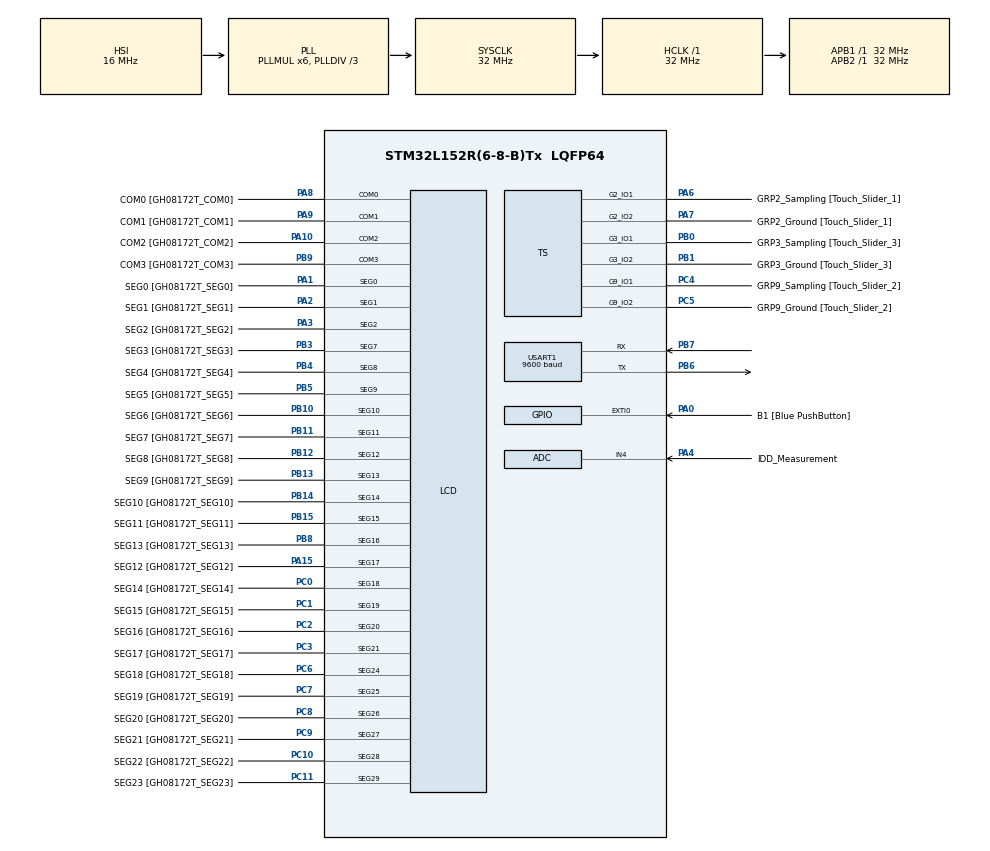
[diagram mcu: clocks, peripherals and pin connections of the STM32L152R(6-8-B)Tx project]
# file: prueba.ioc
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ADC.Channel=ADC_CHANNEL_4
ADC.Channel-0\#ChannelRegularConversion=ADC_CHANNEL_4
ADC.Channel-IN4=ADC_CHANNEL_4
ADC.ExternalTrigConv=ADC_EXTERNALTRIGCONV_T2_CC3
ADC.ExternalTrigConv-0\#ChannelRegularConversion=ADC_SOFTWARE_START
ADC.ExternalTrigConvEdge=ADC_EXTERNALTRIGCONVEDGE_RISING
ADC.Rank-0\#ChannelRegularConversion=1
ADC.SamplingTime-0\#ChannelRegularConversion=ADC_SAMPLETIME_4CYCLES
Mcu.Family=STM32L1
Mcu.Name=STM32L152R(6-8-B)Tx
Mcu.Package=LQFP64
NVIC.PriorityGroup=NVIC_PRIORITYGROUP_0
PA0-WKUP1.GPIO_Label=B1 [Blue PushButton]
PA0-WKUP1.GPIO_ModeDefaultEXTI=GPIO_MODE_EVT_RISING
PA0-WKUP1.GPIO_PuPd=GPIO_NOPULL
PA0-WKUP1.Signal=GPXTI0
PA1.GPIO_Label=SEG0 [GH08172T_SEG0]
PA1.GPIO_Mode=GPIO_MODE_AF_PP
PA1.GPIO_PuPd=GPIO_NOPULL
PA1.GPIO_Speed=GPIO_SPEED_FREQ_LOW
PA1.Mode=SEG0
PA1.Signal=LCD_SEG0
PA10.GPIO_Label=COM2 [GH08172T_COM2]
PA10.GPIO_Mode=GPIO_MODE_AF_PP
PA10.GPIO_PuPd=GPIO_NOPULL
PA10.GPIO_Speed=GPIO_SPEED_FREQ_LOW
PA10.Mode=1/4 Duty Cycle
PA10.Signal=LCD_COM2
PA13.GPIO_Label=SWDIO
PA13.Mode=Serial_Wire
PA13.Signal=SYS_JTMS-SWDIO
PA14.GPIO_Label=SWCLK
PA14.Mode=Serial_Wire
PA14.Signal=SYS_JTCK-SWCLK
PA15.GPIO_Label=SEG12 [GH08172T_SEG12]
PA15.GPIO_Mode=GPIO_MODE_AF_PP
PA15.GPIO_PuPd=GPIO_NOPULL
PA15.GPIO_Speed=GPIO_SPEED_FREQ_LOW
PA15.Mode=SEG17
PA15.Signal=LCD_SEG17
PA2.GPIO_Label=SEG1 [GH08172T_SEG1]
PA2.GPIO_Mode=GPIO_MODE_AF_PP
PA2.GPIO_PuPd=GPIO_NOPULL
PA2.GPIO_Speed=GPIO_SPEED_FREQ_LOW
PA2.Mode=SEG1
PA2.Signal=LCD_SEG1
PA3.GPIO_Label=SEG2 [GH08172T_SEG2]
PA3.GPIO_Mode=GPIO_MODE_AF_PP
PA3.GPIO_PuPd=GPIO_NOPULL
PA3.GPIO_Speed=GPIO_SPEED_FREQ_LOW
PA3.Mode=SEG2
PA3.Signal=LCD_SEG2
PA4.GPIO_Label=IDD_Measurement
PA4.GPIO_Mode=GPIO_MODE_ANALOG
PA4.GPIO_PuPd=GPIO_NOPULL
PA4.Mode=IN4
PA4.Signal=ADC_IN4
PA6.GPIO_Label=GRP2_Sampling [Touch_Slider_1]
PA6.Mode=G2_IO1-Sampling
PA6.Signal=TS_G2_IO1
PA7.GPIO_Label=GRP2_Ground [Touch_Slider_1]
PA7.Mode=G2_IO2-Channel
PA7.Signal=TS_G2_IO2
PA8.GPIO_Label=COM0 [GH08172T_COM0]
PA8.GPIO_Mode=GPIO_MODE_AF_PP
PA8.GPIO_PuPd=GPIO_NOPULL
PA8.GPIO_Speed=GPIO_SPEED_FREQ_LOW
PA8.Mode=1/4 Duty Cycle
PA8.Signal=LCD_COM0
PA9.GPIO_Label=COM1 [GH08172T_COM1]
PA9.GPIO_Mode=GPIO_MODE_AF_PP
PA9.GPIO_PuPd=GPIO_NOPULL
PA9.GPIO_Speed=GPIO_SPEED_FREQ_LOW
PA9.Mode=1/4 Duty Cycle
PA9.Signal=LCD_COM1
PB0.GPIO_Label=GRP3_Sampling [Touch_Slider_3]
PB0.Mode=G3_IO1-Sampling
PB0.Signal=TS_G3_IO1
PB1.GPIO_Label=GRP3_Ground [Touch_Slider_3]
PB1.Mode=G3_IO2-Channel
PB1.Signal=TS_G3_IO2
PB10.GPIO_Label=SEG6 [GH08172T_SEG6]
PB10.GPIO_Mode=GPIO_MODE_AF_PP
PB10.GPIO_PuPd=GPIO_NOPULL
PB10.GPIO_Speed=GPIO_SPEED_FREQ_LOW
PB10.Mode=SEG10
PB10.Signal=LCD_SEG10
PB11.GPIO_Label=SEG7 [GH08172T_SEG7]
PB11.GPIO_Mode=GPIO_MODE_AF_PP
PB11.GPIO_PuPd=GPIO_NOPULL
PB11.GPIO_Speed=GPIO_SPEED_FREQ_LOW
PB11.Mode=SEG11
PB11.Signal=LCD_SEG11
PB12.GPIO_Label=SEG8 [GH08172T_SEG8]
PB12.GPIO_Mode=GPIO_MODE_AF_PP
PB12.GPIO_PuPd=GPIO_NOPULL
PB12.GPIO_Speed=GPIO_SPEED_FREQ_LOW
PB12.Mode=SEG12
PB12.Signal=LCD_SEG12
PB13.GPIO_Label=SEG9 [GH08172T_SEG9]
PB13.GPIO_Mode=GPIO_MODE_AF_PP
PB13.GPIO_PuPd=GPIO_NOPULL
PB13.GPIO_Speed=GPIO_SPEED_FREQ_LOW
PB13.Mode=SEG13
PB13.Signal=LCD_SEG13
PB14.GPIO_Label=SEG10 [GH08172T_SEG10]
PB14.GPIO_Mode=GPIO_MODE_AF_PP
PB14.GPIO_PuPd=GPIO_NOPULL
PB14.GPIO_Speed=GPIO_SPEED_FREQ_LOW
PB14.Mode=SEG14
PB14.Signal=LCD_SEG14
PB15.GPIO_Label=SEG11 [GH08172T_SEG11]
PB15.GPIO_Mode=GPIO_MODE_AF_PP
PB15.GPIO_PuPd=GPIO_NOPULL
PB15.GPIO_Speed=GPIO_SPEED_FREQ_LOW
PB15.Mode=SEG15
PB15.Signal=LCD_SEG15
PB3.GPIO_Label=SEG3 [GH08172T_SEG3]
PB3.GPIO_Mode=GPIO_MODE_AF_PP
PB3.GPIO_PuPd=GPIO_NOPULL
PB3.GPIO_Speed=GPIO_SPEED_FREQ_LOW
PB3.Mode=SEG7
PB3.Signal=LCD_SEG7
PB4.GPIO_Label=SEG4 [GH08172T_SEG4]
PB4.GPIO_Mode=GPIO_MODE_AF_PP
PB4.GPIO_PuPd=GPIO_NOPULL
PB4.GPIO_Speed=GPIO_SPEED_FREQ_LOW
PB4.Mode=SEG8
PB4.Signal=LCD_SEG8
PB5.GPIO_Label=SEG5 [GH08172T_SEG5]
PB5.GPIO_Mode=GPIO_MODE_AF_PP
PB5.GPIO_PuPd=GPIO_NOPULL
PB5.GPIO_Speed=GPIO_SPEED_FREQ_LOW
PB5.Mode=SEG9
PB5.Signal=LCD_SEG9
PB6.Mode=Asynchronous
PB6.Signal=USART1_TX
PB7.Mode=Asynchronous
PB7.Signal=USART1_RX
PB8.GPIO_Label=SEG13 [GH08172T_SEG13]
PB8.GPIO_Mode=GPIO_MODE_AF_PP
PB8.GPIO_PuPd=GPIO_NOPULL
PB8.GPIO_Speed=GPIO_SPEED_FREQ_LOW
PB8.Mode=SEG16
PB8.Signal=LCD_SEG16
PB9.GPIO_Label=COM3 [GH08172T_COM3]
PB9.GPIO_Mode=GPIO_MODE_AF_PP
PB9.GPIO_PuPd=GPIO_NOPULL
PB9.GPIO_Speed=GPIO_SPEED_FREQ_LOW
PB9.Mode=1/4 Duty Cycle
PB9.Signal=LCD_COM3
PC0.GPIO_Label=SEG14 [GH08172T_SEG14]
PC0.GPIO_Mode=GPIO_MODE_AF_PP
PC0.GPIO_PuPd=GPIO_NOPULL
PC0.GPIO_Speed=GPIO_SPEED_FREQ_LOW
PC0.Mode=SEG18
PC0.Signal=LCD_SEG18
PC1.GPIO_Label=SEG15 [GH08172T_SEG15]
PC1.GPIO_Mode=GPIO_MODE_AF_PP
PC1.GPIO_PuPd=GPIO_NOPULL
PC1.GPIO_Speed=GPIO_SPEED_FREQ_LOW
PC1.Mode=SEG19
PC1.Signal=LCD_SEG19
PC10.GPIO_Label=SEG22 [GH08172T_SEG22]
PC10.GPIO_Mode=GPIO_MODE_AF_PP
PC10.GPIO_PuPd=GPIO_NOPULL
PC10.GPIO_Speed=GPIO_SPEED_FREQ_LOW
PC10.Mode=SEG28
PC10.Signal=LCD_SEG28
PC11.GPIO_Label=SEG23 [GH08172T_SEG23]
PC11.GPIO_Mode=GPIO_MODE_AF_PP
PC11.GPIO_PuPd=GPIO_NOPULL
PC11.GPIO_Speed=GPIO_SPEED_FREQ_LOW
PC11.Mode=SEG29
PC11.Signal=LCD_SEG29
PC14-OSC32_IN.GPIO_Label=PC14-OSC32_IN
PC14-OSC32_IN.Mode=LSE-External-Oscillator
PC14-OSC32_IN.Signal=RCC_OSC32_IN
PC15-OSC32_OUT.GPIO_Label=PC15-OSC32_OUT
PC15-OSC32_OUT.Mode=LSE-External-Oscillator
PC15-OSC32_OUT.Signal=RCC_OSC32_OUT
PC2.GPIO_Label=SEG16 [GH08172T_SEG16]
PC2.GPIO_Mode=GPIO_MODE_AF_PP
PC2.GPIO_PuPd=GPIO_NOPULL
PC2.GPIO_Speed=GPIO_SPEED_FREQ_LOW
PC2.Mode=SEG20
PC2.Signal=LCD_SEG20
PC3.GPIO_Label=SEG17 [GH08172T_SEG17]
PC3.GPIO_Mode=GPIO_MODE_AF_PP
PC3.GPIO_PuPd=GPIO_NOPULL
PC3.GPIO_Speed=GPIO_SPEED_FREQ_LOW
PC3.Mode=SEG21
PC3.Signal=LCD_SEG21
PC4.GPIO_Label=GRP9_Sampling [Touch_Slider_2]
PC4.Mode=G9_IO1-Sampling
PC4.Signal=TS_G9_IO1
PC5.GPIO_Label=GRP9_Ground [Touch_Slider_2]
PC5.Mode=G9_IO2-Channel
PC5.Signal=TS_G9_IO2
PC6.GPIO_Label=SEG18 [GH08172T_SEG18]
PC6.GPIO_Mode=GPIO_MODE_AF_PP
PC6.GPIO_PuPd=GPIO_NOPULL
PC6.GPIO_Speed=GPIO_SPEED_FREQ_LOW
PC6.Mode=SEG24
PC6.Signal=LCD_SEG24
PC7.GPIO_Label=SEG19 [GH08172T_SEG19]
PC7.GPIO_Mode=GPIO_MODE_AF_PP
PC7.GPIO_PuPd=GPIO_NOPULL
PC7.GPIO_Speed=GPIO_SPEED_FREQ_LOW
PC7.Mode=SEG25
PC7.Signal=LCD_SEG25
PC8.GPIO_Label=SEG20 [GH08172T_SEG20]
PC8.GPIO_Mode=GPIO_MODE_AF_PP
PC8.GPIO_PuPd=GPIO_NOPULL
PC8.GPIO_Speed=GPIO_SPEED_FREQ_LOW
PC8.Mode=SEG26
PC8.Signal=LCD_SEG26
PC9.GPIO_Label=SEG21 [GH08172T_SEG21]
PC9.GPIO_Mode=GPIO_MODE_AF_PP
PC9.GPIO_PuPd=GPIO_NOPULL
PC9.GPIO_Speed=GPIO_SPEED_FREQ_LOW
PC9.Mode=SEG27
PC9.Signal=LCD_SEG27
ProjectManager.HeapSize=0x200
ProjectManager.StackSize=0x400
ProjectManager.TargetToolchain=STM32CubeIDE
RCC.48MHZClocksFreq_Value=48000000
RCC.AHBFreq_Value=32000000
RCC.APB1Freq_Value=32000000
RCC.APB1TimFreq_Value=32000000
RCC.APB2Freq_Value=32000000
RCC.APB2TimFreq_Value=32000000
RCC.HCLKFreq_Value=32000000
RCC.HSE_VALUE=8000000
RCC.HSI_VALUE=16000000
RCC.MSI_VALUE=2097000
RCC.PLLDIV=RCC_PLL_DIV3
RCC.PLLMUL=RCC_PLL_MUL6
RCC.RTCClockSelectionVirtual=RCC_RTCCLKSOURCE_LSE
RCC.SYSCLKFreq_VALUE=32000000
RCC.SYSCLKSource=RCC_SYSCLKSOURCE_PLLCLK
RCC.USBOutput=48000000
RCC.VCOOutputFreq_Value=96000000
USART1.BaudRate=9600
USART1.VirtualMode=VM_ASYNC
VP_TIM2_VS_ClockSourceINT.Mode=Internal
VP_TIM3_VS_ClockSourceINT.Mode=Internal
VP_TIM4_VS_ClockSourceINT.Mode=Internal
board=STM32L-DISCOVERY

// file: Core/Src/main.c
/* USER CODE BEGIN Header */
/**
  ******************************************************************************
  * @file           : main.c
  * @brief          : Main program body
  ******************************************************************************
  * @attention
  *
  * Copyright (c) 2024 STMicroelectronics.
  * All rights reserved.
  *
  * This software is licensed under terms that can be found in the LICENSE file
  * in the root directory of this software component.
  * If no LICENSE file comes with this software, it is provided AS-IS.
  *
  ******************************************************************************
  */
/* USER CODE END Header */
#include "main.h"

/* USER CODE BEGIN PD */
#define selection 4
#define MOTOR_A_IN1_PIN GPIO_PIN_6 // PC6
#define MOTOR_A_IN2_PIN GPIO_PIN_7 // PC7
#define MOTOR_B_IN3_PIN GPIO_PIN_8 // PC8
#define MOTOR_B_IN4_PIN GPIO_PIN_9 // PC9
#define BUZZER_PIN GPIO_PIN_8 // PB8
#define TX GPIO_PIN_6 // PB6
#define RX GPIO_PIN_7 // PB7
/* USER CODE END PD */

ADC_HandleTypeDef hadc;

LCD_HandleTypeDef hlcd;

TIM_HandleTypeDef htim2;
TIM_HandleTypeDef htim3;
TIM_HandleTypeDef htim4;

UART_HandleTypeDef huart1;

/* USER CODE BEGIN PV */
unsigned char SENSOR_1 = 0; // 0 for white 1 for black
unsigned char SENSOR_2 = 0;
unsigned char state;
unsigned char carState; //0 = manual, 1 = auto
unsigned int speeds[selection + 1] = {0, 1023, 2047, 3071, 4095};
unsigned short value = 0;
uint8_t data[6];

/* USER CODE END PV */

void SystemClock_Config(void);
static void MX_GPIO_Init(void);
static void MX_ADC_Init(void);
static void MX_LCD_Init(void);
static void MX_TS_Init(void);
static void MX_TIM2_Init(void);
static void MX_TIM3_Init(void);
static void MX_TIM4_Init(void);
static void MX_USART1_UART_Init(void);

/* USER CODE BEGIN 0 */
void stopWheels(void) {
    // Stop both motors
    GPIOC->BSRR = (GPIO_PIN_6 | GPIO_PIN_7 | GPIO_PIN_8 | GPIO_PIN_9) << 16;
}
void moveForward(void) {
    // Move both motors forward
    GPIOC->BSRR = GPIO_PIN_6 | GPIO_PIN_8;
    GPIOC->BSRR = (GPIO_PIN_7 | GPIO_PIN_9) << 16;
}
void rightWheel(void) {
    // Turn right by moving right motor forward and left motor backward
    GPIOC->BSRR = GPIO_PIN_6;  // Activar el pin de dirección del motor izquierdo hacia adelante
    GPIOC->BSRR = GPIO_PIN_9;  // Activar el pin de dirección del motor derecho hacia atrás
    GPIOC->BSRR = (GPIO_PIN_7 | GPIO_PIN_8) << 16; // Desactivar los pines de dirección opuestos
}

void leftWheel(void) {
    // Turn left by moving left motor forward and right motor backward
    GPIOC->BSRR = GPIO_PIN_7;  // Activar el pin de dirección del motor izquierdo hacia adelante
    GPIOC->BSRR = GPIO_PIN_8;  // Activar el pin de dirección del motor derecho hacia atrás
    GPIOC->BSRR = (GPIO_PIN_6 | GPIO_PIN_9) << 16; // Desactivar los pines de dirección opuestos
}

void moveBackward(void) {
    // Move both motors backward by reversing the direction logic
	 GPIOC->BSRR = GPIO_PIN_7 | GPIO_PIN_9;  // Activar los pines de dirección opuestos
	    GPIOC->BSRR = (GPIO_PIN_6 | GPIO_PIN_8) << 16;  // Desactivar los pines de dirección hacia adelante
}
void autonomousMode(void) {
		if(SENSOR_1 == 1 && SENSOR_2 == 0){
				leftWheel();
			} else if(SENSOR_1 == 0 && SENSOR_2 == 1){
				rightWheel();
			} else if(SENSOR_1 == 1 && SENSOR_2 == 1){
				stopWheels();
			} else if(SENSOR_1 == 0 && SENSOR_2 == 0){
				moveForward();
			} else {
				stopWheels();
			}
}

void EXTI1_IRQHandler(void){  //for the right sensor
	if(EXTI -> PR == (1<<1)){
		SENSOR_1 = 1;
		EXTI -> PR |= (1<<1); // clean the flags with a 1
	}

}

void EXTI2_IRQHandler(void){  //for the left sensor
	if(EXTI -> PR == (1<<2)){
		SENSOR_2 = 1;
			EXTI -> PR |= (1<<2); //clean the flags with a 1
		}

}
void TIM4_IRQHandler(void){
	if((TIM4->SR & (1<<1))!=0){
	if(state == 0){
		state = 1;
	}
	else{
		state = 0;
	}

	TIM4->CCR1 += 250;

	TIM4->SR &= ~(1<<1);
}
}
void ADC1_IRQHandler(void) {
    if ((ADC1->SR & (1<<1)) != 0) {
        value = ADC1->DR; // Lee el value del ADC

    }
}

void adjustSpeed(unsigned short value) {
	unsigned int speed = 0;
	for(unsigned int i = 0; i<selection; i++){
	    if(speeds[i]<= value && value <=speeds[i+1]){
	    	if (value <= speeds[1]) {
	    		        speed = 50;
	    		        TIM3->CCR2 = speed;
	    		        TIM3->CCR4 = speed;

	    		    } else if (value <= speeds[2]) {
	    		        speed = 70;
	    		        TIM3->CCR2 = speed;
	    		        TIM3->CCR4 = speed;

	    		    } else if (value <= speeds[3]) {
	    		        speed = 100;
	    		        TIM3->CCR2 = speed;
	    		        TIM3->CCR4 = speed;

	    		    }
	    }
	}
}
/* USER CODE END 0 */

int main(void)
{

  /* MCU Configuration--------------------------------------------------------*/

  /* Reset of all peripherals, Initializes the Flash interface and the Systick. */
  HAL_Init();

  /* Configure the system clock */
  SystemClock_Config();

  /* Initialize all configured peripherals */
  MX_GPIO_Init();
  MX_ADC_Init();
  MX_LCD_Init();
  MX_TS_Init();
  MX_TIM2_Init();
  MX_TIM3_Init();
  MX_TIM4_Init();
  MX_USART1_UART_Init();
  /* USER CODE BEGIN 2 */
  GPIOC->MODER &= ~(1 << (6*2+1));
      GPIOC->MODER |= (1 << (6*2));

      GPIOC->MODER &= ~(1 << (7*2+1));
      GPIOC->MODER |= (1 << (7*2));

      GPIOC->MODER &= ~(1 << (8*2+1));
      GPIOC->MODER |= (1 << (8*2));

      GPIOC->MODER &= ~(1 << (9*2+1));
      GPIOC->MODER |= (1 << (9*2));
     // PC1 & PC2 as digital input (00)
     GPIOC->MODER &= ~(1 << (1*2+1));
     GPIOC->MODER &= ~(1 << (1*2));

     GPIOC->MODER &= ~(1 << (2*2+1));
     GPIOC->MODER &= ~(1 << (2*2));

     GPIOA->MODER &= ~(1 << (0*2+1));
     GPIOA->MODER &= ~(1 << (0*2));
     //Configure the EXTI1
     //Hacemos la interrupcion del primer infrarrojo
     SYSCFG -> EXTICR[0] = 0;
     EXTI -> IMR |= (1<<1);
     EXTI -> RTSR |= (1<<1);
     EXTI -> FTSR |= (1<<1);
     NVIC->ISER[0] |= (1 << 7);  //EXTI1 posicion 7

      //Configure the EXTI2
     SYSCFG -> EXTICR[0] = 0;
     EXTI -> IMR |= (1<<2);
     EXTI -> RTSR |= (1<<2);
     EXTI -> FTSR |= (1<<2);
     NVIC->ISER[0] |= (1 << 8); //EXTI2 posicion 8

      //Configure buzzer
      GPIOB->MODER &= ~(1 << (8 * 2));
      GPIOB->MODER |= (1 << (8 * 2+1));
      //Configuration TIM4
      TIM4->CR1 = 0;
      TIM4->CR2 = 0;
      TIM4->SMCR = 0;

      TIM4->CNT = 0;
      TIM4->PSC = 31999;
      TIM4->ARR = 0xFFFF;
      TIM4->CCR1 = 250;

      TIM4->CCMR1 = 0;
      TIM4->CCMR2 = 0;
      TIM4->CCER = 0;

      TIM4->DIER = (1<<1);

      TIM4->EGR |= 0x0001;
      TIM4->SR = 0;
      TIM4->CR1 |= 0x0001;

      NVIC->ISER[0] |= (1 << 30);

      //PA5 as an input(00)
            GPIOA->MODER |= 0x00000C00;

        	ADC1 -> CR2 &= ~(0x00000001);//MAKE SURE THE POWER IS OFF
        	ADC1 -> CR1 = 0x00000020;
        	ADC1 -> CR2 = 0x00000412;
        	ADC1 -> SQR1 = 0x00000000;//I JUST WANT ONE CONVERSION
        	ADC1 -> SQR5 = 0x00000005;
        	ADC1 -> CR2 |= 0x00000001;//POWER ON
        	 while ((ADC1->SR&0x0040)==0); // If ADCONS = 0, I wait till converter is ready
        	 ADC1->CR2 |= 0x40000000;
        	 NVIC->ISER[0] |= (1<<18);
        	// PWM Configuration for pin PC6 and channel 1 of TIM3
        	TIM3->CR1 = 0x0000; // Disable TIM3
        	TIM3->CR2 = 0x0000; // Trigger mode configuration
        	TIM3->SMCR = 0; // Synchronization control configuration

        	TIM3->PSC = 319; // Prescaler configuration
        	TIM3->CNT = 0; // Initialize counter
        	TIM3->ARR = 99; // Auto-reload value configuration
        	TIM3->CCR2 = 1; // Duty cycle configuration (DC debe estar definido previamente)
        	TIM3->CCR4 = 1;

        	TIM3->DIER = 0x0000; // Disable interrupts
        	TIM3->DCR = 0;
        	//PC7 ch2

        	TIM3->CCMR1 |= (1<<(5*2+1)); // Clear channel 1 configuration bits
      	TIM3->CCMR1 |= (1<<(7*2));	//1
      	TIM3->CCMR1 |= (1<<(6*2+1));	//1
      	TIM3->CCMR1 &= ~(1<<(6*2));	//0
      	//PC9 ch4
      	TIM3->CCMR2 |= (1<<(5*2+1));	//PE
      	//Los 3 siguientes para PWM (ver manual)
      	TIM3->CCMR2 |= (1<<(7*2));	//1
      	TIM3->CCMR2 |= (1<<(6*2+1));	//1
      	TIM3->CCMR2 &= ~(1<<(6*2));	//0

      	TIM3->CCER |= (1<<(2*2));		//CC1E
      	TIM3->CCER |= (1<<(6*2));		//CC1E
      	TIM3->CR1 |= (1<<(3*2+1));		//HW (bit ARPE)
      	TIM3->EGR |= (1<<0);		//UG
      	TIM3->CR1 |= (1<<0);		//ON
      	TIM3->SR = 0;				//FLAG

      	TIM3->CCR2 = 20;
     	TIM3->CCR4 = 20;

          NVIC->ISER[0] |= (1 << 29);

          HAL_UART_Transmit(&huart1, &data[0], 1, 10000);

  /* USER CODE END 2 */

  /* Infinite loop */
  while (1)
  {
	  if (HAL_UART_Receive(&huart1, data, 1, 10000) == HAL_OK) {
	          switch (data[0]) {
	              case 'F':
	                  moveForward();
	                  break;
	              case 'S':
	                  stopWheels();
	                  break;
	              case 'R':
             	  rightWheel();
              	 break;
                 case 'L':
           	      leftWheel();
           	     break;
                 case 'B':
           	     moveBackward();
	               break;
	              default:
	                  // Handle any unexpected commands
	                  break;
	    }
	  }

  }
}

void SystemClock_Config(void)
{
  RCC_OscInitTypeDef RCC_OscInitStruct = {0};
  RCC_ClkInitTypeDef RCC_ClkInitStruct = {0};
  RCC_PeriphCLKInitTypeDef PeriphClkInit = {0};

  /** Configure the main internal regulator output voltage
  */
  __HAL_PWR_VOLTAGESCALING_CONFIG(PWR_REGULATOR_VOLTAGE_SCALE1);

  /** Initializes the RCC Oscillators according to the specified parameters
  * in the RCC_OscInitTypeDef structure.
  */
  RCC_OscInitStruct.OscillatorType = RCC_OSCILLATORTYPE_HSI|RCC_OSCILLATORTYPE_LSE;
  RCC_OscInitStruct.LSEState = RCC_LSE_ON;
  RCC_OscInitStruct.HSIState = RCC_HSI_ON;
  RCC_OscInitStruct.HSICalibrationValue = RCC_HSICALIBRATION_DEFAULT;
  RCC_OscInitStruct.PLL.PLLState = RCC_PLL_ON;
  RCC_OscInitStruct.PLL.PLLSource = RCC_PLLSOURCE_HSI;
  RCC_OscInitStruct.PLL.PLLMUL = RCC_PLL_MUL6;
  RCC_OscInitStruct.PLL.PLLDIV = RCC_PLL_DIV3;
  if (HAL_RCC_OscConfig(&RCC_OscInitStruct) != HAL_OK)
  {
    Error_Handler();
  }

  /** Initializes the CPU, AHB and APB buses clocks
  */
  RCC_ClkInitStruct.ClockType = RCC_CLOCKTYPE_HCLK|RCC_CLOCKTYPE_SYSCLK
                              |RCC_CLOCKTYPE_PCLK1|RCC_CLOCKTYPE_PCLK2;
  RCC_ClkInitStruct.SYSCLKSource = RCC_SYSCLKSOURCE_PLLCLK;
  RCC_ClkInitStruct.AHBCLKDivider = RCC_SYSCLK_DIV1;
  RCC_ClkInitStruct.APB1CLKDivider = RCC_HCLK_DIV1;
  RCC_ClkInitStruct.APB2CLKDivider = RCC_HCLK_DIV1;

  if (HAL_RCC_ClockConfig(&RCC_ClkInitStruct, FLASH_LATENCY_1) != HAL_OK)
  {
    Error_Handler();
  }
  PeriphClkInit.PeriphClockSelection = RCC_PERIPHCLK_RTC|RCC_PERIPHCLK_LCD;
  PeriphClkInit.RTCClockSelection = RCC_RTCCLKSOURCE_LSE;
  PeriphClkInit.LCDClockSelection = RCC_RTCCLKSOURCE_LSE;

  if (HAL_RCCEx_PeriphCLKConfig(&PeriphClkInit) != HAL_OK)
  {
    Error_Handler();
  }
}

static void MX_ADC_Init(void)
{

  ADC_ChannelConfTypeDef sConfig = {0};

  /** Configure the global features of the ADC (Clock, Resolution, Data Alignment and number of conversion)
  */
  hadc.Instance = ADC1;
  hadc.Init.ClockPrescaler = ADC_CLOCK_ASYNC_DIV1;
  hadc.Init.Resolution = ADC_RESOLUTION_12B;
  hadc.Init.DataAlign = ADC_DATAALIGN_RIGHT;
  hadc.Init.ScanConvMode = ADC_SCAN_DISABLE;
  hadc.Init.EOCSelection = ADC_EOC_SEQ_CONV;
  hadc.Init.LowPowerAutoWait = ADC_AUTOWAIT_DISABLE;
  hadc.Init.LowPowerAutoPowerOff = ADC_AUTOPOWEROFF_DISABLE;
  hadc.Init.ChannelsBank = ADC_CHANNELS_BANK_A;
  hadc.Init.ContinuousConvMode = DISABLE;
  hadc.Init.NbrOfConversion = 1;
  hadc.Init.DiscontinuousConvMode = DISABLE;
  hadc.Init.ExternalTrigConv = ADC_EXTERNALTRIGCONV_T2_CC3;
  hadc.Init.ExternalTrigConvEdge = ADC_EXTERNALTRIGCONVEDGE_RISING;
  hadc.Init.DMAContinuousRequests = DISABLE;
  if (HAL_ADC_Init(&hadc) != HAL_OK)
  {
    Error_Handler();
  }

  /** Configure for the selected ADC regular channel its corresponding rank in the sequencer and its sample time.
  */
  sConfig.Channel = ADC_CHANNEL_4;
  sConfig.Rank = ADC_REGULAR_RANK_1;
  sConfig.SamplingTime = ADC_SAMPLETIME_4CYCLES;
  if (HAL_ADC_ConfigChannel(&hadc, &sConfig) != HAL_OK)
  {
    Error_Handler();
  }

}

static void MX_LCD_Init(void)
{

  hlcd.Instance = LCD;
  hlcd.Init.Prescaler = LCD_PRESCALER_1;
  hlcd.Init.Divider = LCD_DIVIDER_16;
  hlcd.Init.Duty = LCD_DUTY_1_4;
  hlcd.Init.Bias = LCD_BIAS_1_4;
  hlcd.Init.VoltageSource = LCD_VOLTAGESOURCE_INTERNAL;
  hlcd.Init.Contrast = LCD_CONTRASTLEVEL_0;
  hlcd.Init.DeadTime = LCD_DEADTIME_0;
  hlcd.Init.PulseOnDuration = LCD_PULSEONDURATION_0;
  hlcd.Init.MuxSegment = LCD_MUXSEGMENT_DISABLE;
  hlcd.Init.BlinkMode = LCD_BLINKMODE_OFF;
  hlcd.Init.BlinkFrequency = LCD_BLINKFREQUENCY_DIV8;
  if (HAL_LCD_Init(&hlcd) != HAL_OK)
  {
    Error_Handler();
  }

}

static void MX_TIM2_Init(void)
{

  TIM_ClockConfigTypeDef sClockSourceConfig = {0};
  TIM_MasterConfigTypeDef sMasterConfig = {0};

  htim2.Instance = TIM2;
  htim2.Init.Prescaler = 0;
  htim2.Init.CounterMode = TIM_COUNTERMODE_UP;
  htim2.Init.Period = 65535;
  htim2.Init.ClockDivision = TIM_CLOCKDIVISION_DIV1;
  htim2.Init.AutoReloadPreload = TIM_AUTORELOAD_PRELOAD_DISABLE;
  if (HAL_TIM_Base_Init(&htim2) != HAL_OK)
  {
    Error_Handler();
  }
  sClockSourceConfig.ClockSource = TIM_CLOCKSOURCE_INTERNAL;
  if (HAL_TIM_ConfigClockSource(&htim2, &sClockSourceConfig) != HAL_OK)
  {
    Error_Handler();
  }
  sMasterConfig.MasterOutputTrigger = TIM_TRGO_RESET;
  sMasterConfig.MasterSlaveMode = TIM_MASTERSLAVEMODE_DISABLE;
  if (HAL_TIMEx_MasterConfigSynchronization(&htim2, &sMasterConfig) != HAL_OK)
  {
    Error_Handler();
  }

}

static void MX_TIM3_Init(void)
{

  TIM_ClockConfigTypeDef sClockSourceConfig = {0};
  TIM_MasterConfigTypeDef sMasterConfig = {0};

  htim3.Instance = TIM3;
  htim3.Init.Prescaler = 0;
  htim3.Init.CounterMode = TIM_COUNTERMODE_UP;
  htim3.Init.Period = 65535;
  htim3.Init.ClockDivision = TIM_CLOCKDIVISION_DIV1;
  htim3.Init.AutoReloadPreload = TIM_AUTORELOAD_PRELOAD_DISABLE;
  if (HAL_TIM_Base_Init(&htim3) != HAL_OK)
  {
    Error_Handler();
  }
  sClockSourceConfig.ClockSource = TIM_CLOCKSOURCE_INTERNAL;
  if (HAL_TIM_ConfigClockSource(&htim3, &sClockSourceConfig) != HAL_OK)
  {
    Error_Handler();
  }
  sMasterConfig.MasterOutputTrigger = TIM_TRGO_RESET;
  sMasterConfig.MasterSlaveMode = TIM_MASTERSLAVEMODE_DISABLE;
  if (HAL_TIMEx_MasterConfigSynchronization(&htim3, &sMasterConfig) != HAL_OK)
  {
    Error_Handler();
  }

}

static void MX_TIM4_Init(void)
{

  TIM_ClockConfigTypeDef sClockSourceConfig = {0};
  TIM_MasterConfigTypeDef sMasterConfig = {0};

  htim4.Instance = TIM4;
  htim4.Init.Prescaler = 0;
  htim4.Init.CounterMode = TIM_COUNTERMODE_UP;
  htim4.Init.Period = 65535;
  htim4.Init.ClockDivision = TIM_CLOCKDIVISION_DIV1;
  htim4.Init.AutoReloadPreload = TIM_AUTORELOAD_PRELOAD_DISABLE;
  if (HAL_TIM_Base_Init(&htim4) != HAL_OK)
  {
    Error_Handler();
  }
  sClockSourceConfig.ClockSource = TIM_CLOCKSOURCE_INTERNAL;
  if (HAL_TIM_ConfigClockSource(&htim4, &sClockSourceConfig) != HAL_OK)
  {
    Error_Handler();
  }
  sMasterConfig.MasterOutputTrigger = TIM_TRGO_RESET;
  sMasterConfig.MasterSlaveMode = TIM_MASTERSLAVEMODE_DISABLE;
  if (HAL_TIMEx_MasterConfigSynchronization(&htim4, &sMasterConfig) != HAL_OK)
  {
    Error_Handler();
  }

}

static void MX_TS_Init(void)
{

}

static void MX_USART1_UART_Init(void)
{

  huart1.Instance = USART1;
  huart1.Init.BaudRate = 9600;
  huart1.Init.WordLength = UART_WORDLENGTH_8B;
  huart1.Init.StopBits = UART_STOPBITS_1;
  huart1.Init.Parity = UART_PARITY_NONE;
  huart1.Init.Mode = UART_MODE_TX_RX;
  huart1.Init.HwFlowCtl = UART_HWCONTROL_NONE;
  huart1.Init.OverSampling = UART_OVERSAMPLING_16;
  if (HAL_UART_Init(&huart1) != HAL_OK)
  {
    Error_Handler();
  }

}

static void MX_GPIO_Init(void)
{
  GPIO_InitTypeDef GPIO_InitStruct = {0};

  /* GPIO Ports Clock Enable */
  __HAL_RCC_GPIOC_CLK_ENABLE();
  __HAL_RCC_GPIOA_CLK_ENABLE();
  __HAL_RCC_GPIOB_CLK_ENABLE();

  /*Configure GPIO pin : B1_Pin */
  GPIO_InitStruct.Pin = B1_Pin;
  GPIO_InitStruct.Mode = GPIO_MODE_EVT_RISING;
  GPIO_InitStruct.Pull = GPIO_NOPULL;
  HAL_GPIO_Init(B1_GPIO_Port, &GPIO_InitStruct);

}

void Error_Handler(void)
{
  __disable_irq();
  while (1)
  {
  }
}
